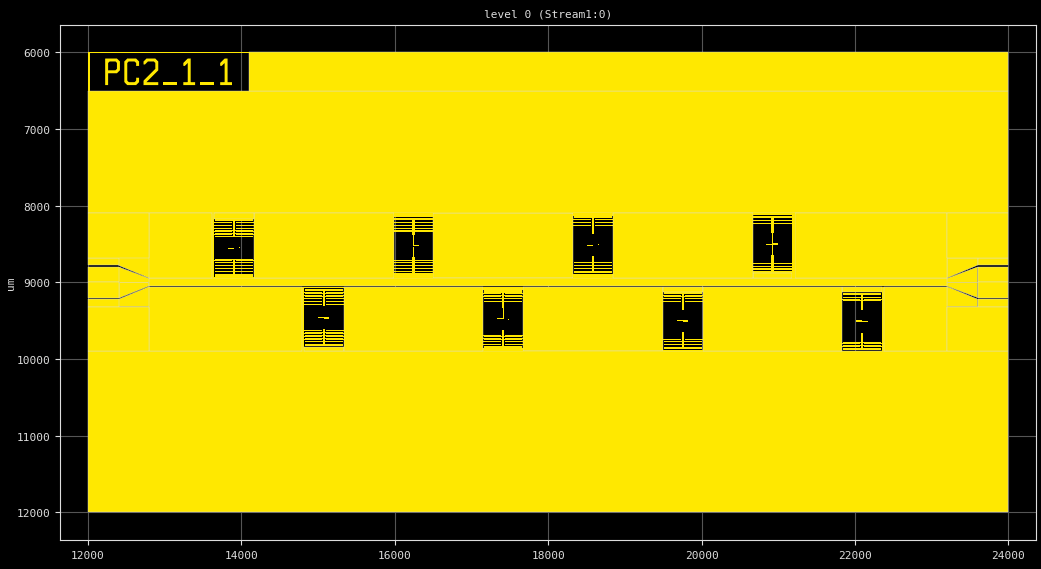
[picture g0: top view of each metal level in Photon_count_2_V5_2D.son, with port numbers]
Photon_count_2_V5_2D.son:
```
FTYP SONPROJ 19 ! Sonnet Project File
VER 18.56
HEADER
LIC infn2.1.84251
DAT 04/24/2026 14:13:35
BUILT_BY_CREATED gds 18.56 04/24/2026 14:13:35
BUILT_BY_SAVED gds 18.56
MDATE 04/24/2026 14:13:35
HDATE 04/24/2026 14:13:35
END HEADER
DIM
ANG DEG
CAP PF
CON /OH
FREQ GHZ
IND NH
LNG UM
RES OH
END DIM
CONTROL
ABS
OPTIONS  -d
SPEED 0
CACHE_ABS 2
TARG_ABS 300
Q_ACC N
END CONTROL
GEO
TMET "Lossless" 0 SUP 0 0 0 0
BMET "Lossless" 0 SUP 0 0 0 0
MET "Unknown_metal" 1 NOR INF 0.5 0 
BOX 1 36000 18000 144000 72000 20 0
      0 1 1 0 0 0 0 "Unnamed"
      0 1 1 0 0 0 0 "Unnamed"
TECHLAY METAL Stream1:0 <UNSPECIFIED> 1 0 
0 0 0 N 0 1 1 100 100 0 0 0 Y
END
END
LORGN 0 18000 U 
NUM 365
0 19 0 N 1 1 1 100 100 0 0 0 Y
TLAYNAM Stream1:0 INH
12223.5 6428.08
12223.5 6081.92
12281.2 6081.92
12281.2 6120.39
12261.9 6139.61
12261.9 6235.77
12358.1 6235.77
12377.3 6216.54
12377.3 6139.61
12358.1 6120.39
12281.2 6120.39
12281.2 6081.92
12377.3 6081.92
12415.8 6120.39
12415.8 6235.77
12377.3 6274.23
12261.9 6274.23
12261.9 6428.08
12223.5 6428.08
END
0 21 0 N 2 1 1 100 100 0 0 0 Y
TLAYNAM Stream1:0 INH
12511.9 6428.08
12473.5 6389.61
12473.5 6120.39
12511.9 6081.92
12627.3 6081.92
12665.8 6120.39
12665.8 6178.08
12627.3 6178.08
12627.3 6139.61
12608.1 6120.39
12531.2 6120.39
12511.9 6139.61
12511.9 6370.39
12531.2 6389.61
12608.1 6389.61
12627.3 6370.39
12627.3 6331.92
12665.8 6331.92
12665.8 6389.61
12627.3 6428.08
12511.9 6428.08
END
0 17 0 N 3 1 1 100 100 0 0 0 Y
TLAYNAM Stream1:0 INH
12723.5 6428.08
12723.5 6370.39
12877.3 6216.54
12877.3 6139.61
12858.1 6120.39
12781.2 6120.39
12742.7 6158.85
12723.5 6158.85
12723.5 6120.39
12761.9 6081.92
12877.3 6081.92
12915.8 6120.39
12915.8 6235.77
12761.9 6389.61
12915.8 6389.61
12915.8 6428.08
12723.5 6428.08
END
0 13 0 N 4 1 1 100 100 0 0 0 Y
TLAYNAM Stream1:0 INH
13242.7 6428.08
13242.7 6389.61
13300.4 6389.61
13300.4 6139.61
13261.9 6178.08
13242.7 6178.08
13242.7 6139.61
13300.4 6081.92
13338.8 6081.92
13338.8 6389.61
13396.5 6389.61
13396.5 6428.08
13242.7 6428.08
END
0 13 0 N 5 1 1 100 100 0 0 0 Y
TLAYNAM Stream1:0 INH
13723.5 6428.08
13723.5 6389.61
13781.2 6389.61
13781.2 6139.61
13742.7 6178.08
13723.5 6178.08
13723.5 6139.61
13781.2 6081.92
13819.6 6081.92
13819.6 6389.61
13877.3 6389.61
13877.3 6428.08
13723.5 6428.08
END
0 5 0 N 6 1 1 100 100 0 0 0 Y
TLAYNAM Stream1:0 INH
23200 8945
23200 8680
23600 8680
23600 8780
23200 8945
END
0 5 0 N 7 1 1 100 100 0 0 0 Y
TLAYNAM Stream1:0 INH
12400 9320
12400 9220
12800 9055
12800 9320
12400 9320
END
0 5 0 N 8 1 1 100 100 0 0 0 Y
TLAYNAM Stream1:0 INH
23200 9000
23200 8950
23600 8800
23600 9000
23200 9000
END
0 5 0 N 9 1 1 100 100 0 0 0 Y
TLAYNAM Stream1:0 INH
12400 9200
12400 9000
12800 9000
12800 9050
12400 9200
END
0 5 0 N 10 1 1 100 100 0 0 0 Y
TLAYNAM Stream1:0 INH
23200 9320
23200 9055
23600 9220
23600 9320
23200 9320
END
0 5 0 N 11 1 1 100 100 0 0 0 Y
TLAYNAM Stream1:0 INH
12800 8945
12400 8780
12400 8680
12800 8680
12800 8945
END
0 5 0 N 12 1 1 100 100 0 0 0 Y
TLAYNAM Stream1:0 INH
23600 9200
23200 9050
23200 9000
23600 9000
23600 9200
END
0 5 0 N 13 1 1 100 100 0 0 0 Y
TLAYNAM Stream1:0 INH
12400 9000
12400 8800
12800 8950
12800 9000
12400 9000
END
0 5 0 N 14 1 1 100 100 0 0 0 Y
TLAYNAM Stream1:0 INH
16505 8945
16505 8100
18325 8100
18325 8945
16505 8945
END
0 5 0 N 15 1 1 100 100 0 0 0 Y
TLAYNAM Stream1:0 INH
17675 9900
17675 9055
19495 9055
19495 9900
17675 9900
END
0 5 0 N 16 1 1 100 100 0 0 0 Y
TLAYNAM Stream1:0 INH
12800 9050
12800 8950
23200 8950
23200 9050
12800 9050
END
0 5 0 N 17 1 1 100 100 0 0 0 Y
TLAYNAM Stream1:0 INH
12000 12000
12000 9900
24000 9900
24000 12000
12000 12000
END
0 5 0 N 18 1 1 100 100 0 0 0 Y
TLAYNAM Stream1:0 INH
12000 8100
12000 6500
24000 6500
24000 8100
12000 8100
END
0 5 0 N 19 1 1 100 100 0 0 0 Y
TLAYNAM Stream1:0 INH
14100 6500
14100 6000
24000 6000
24000 6500
14100 6500
END
0 5 0 N 20 1 1 100 100 0 0 0 Y
TLAYNAM Stream1:0 INH
20665 8180
20665 8170
20900 8170
20900 8180
20665 8180
END
0 5 0 N 21 1 1 100 100 0 0 0 Y
TLAYNAM Stream1:0 INH
20675 8200
20675 8190
20910 8190
20910 8200
20675 8200
END
0 5 0 N 22 1 1 100 100 0 0 0 Y
TLAYNAM Stream1:0 INH
20950 8180
20950 8170
21185 8170
21185 8180
20950 8180
END
0 5 0 N 23 1 1 100 100 0 0 0 Y
TLAYNAM Stream1:0 INH
20940 8200
20940 8190
21175 8190
21175 8200
20940 8200
END
0 5 0 N 24 1 1 100 100 0 0 0 Y
TLAYNAM Stream1:0 INH
20675 8880
20675 8850
21175 8850
21175 8880
20675 8880
END
0 5 0 N 25 1 1 100 100 0 0 0 Y
TLAYNAM Stream1:0 INH
20910 8850
20910 8650
20940 8650
20940 8850
20910 8850
END
0 5 0 N 26 1 1 100 100 0 0 0 Y
TLAYNAM Stream1:0 INH
20665 8840
20665 8830
20900 8830
20900 8840
20665 8840
END
0 5 0 N 27 1 1 100 100 0 0 0 Y
TLAYNAM Stream1:0 INH
20675 8820
20675 8810
20910 8810
20910 8820
20675 8820
END
0 5 0 N 28 1 1 100 100 0 0 0 Y
TLAYNAM Stream1:0 INH
20940 8820
20940 8810
21175 8810
21175 8820
20940 8820
END
0 5 0 N 29 1 1 100 100 0 0 0 Y
TLAYNAM Stream1:0 INH
20950 8840
20950 8830
21185 8830
21185 8840
20950 8840
END
0 5 0 N 30 1 1 100 100 0 0 0 Y
TLAYNAM Stream1:0 INH
20940 8240
20940 8230
21175 8230
21175 8240
20940 8240
END
0 5 0 N 31 1 1 100 100 0 0 0 Y
TLAYNAM Stream1:0 INH
20675 8240
20675 8230
20910 8230
20910 8240
20675 8240
END
0 5 0 N 32 1 1 100 100 0 0 0 Y
TLAYNAM Stream1:0 INH
20950 8220
20950 8210
21185 8210
21185 8220
20950 8220
END
0 5 0 N 33 1 1 100 100 0 0 0 Y
TLAYNAM Stream1:0 INH
20665 8220
20665 8210
20900 8210
20900 8220
20665 8220
END
0 5 0 N 34 1 1 100 100 0 0 0 Y
TLAYNAM Stream1:0 INH
20950 8760
20950 8750
21185 8750
21185 8760
20950 8760
END
0 5 0 N 35 1 1 100 100 0 0 0 Y
TLAYNAM Stream1:0 INH
20665 8760
20665 8750
20900 8750
20900 8760
20665 8760
END
0 5 0 N 36 1 1 100 100 0 0 0 Y
TLAYNAM Stream1:0 INH
20940 8780
20940 8770
21175 8770
21175 8780
20940 8780
END
0 5 0 N 37 1 1 100 100 0 0 0 Y
TLAYNAM Stream1:0 INH
20675 8780
20675 8770
20910 8770
20910 8780
20675 8780
END
0 5 0 N 38 1 1 100 100 0 0 0 Y
TLAYNAM Stream1:0 INH
20950 8800
20950 8790
21185 8790
21185 8800
20950 8800
END
0 5 0 N 39 1 1 100 100 0 0 0 Y
TLAYNAM Stream1:0 INH
20665 8800
20665 8790
20900 8790
20900 8800
20665 8800
END
0 5 0 N 40 1 1 100 100 0 0 0 Y
TLAYNAM Stream1:0 INH
20665 8945
20665 8885
21185 8885
21185 8945
20665 8945
END
0 5 0 N 41 1 1 100 100 0 0 0 Y
TLAYNAM Stream1:0 INH
20847 8508
20847 8503
20997 8503
20997 8508
20847 8508
END
0 5 0 N 42 1 1 100 100 0 0 0 Y
TLAYNAM Stream1:0 INH
20992 8503
20992 8498
20997 8498
20997 8503
20992 8503
END
0 5 0 N 43 1 1 100 100 0 0 0 Y
TLAYNAM Stream1:0 INH
20922 8498
20922 8493
20997 8493
20997 8498
20922 8498
END
0 5 0 N 44 1 1 100 100 0 0 0 Y
TLAYNAM Stream1:0 INH
20847 8513
20847 8508
20852 8508
20852 8513
20847 8513
END
0 5 0 N 45 1 1 100 100 0 0 0 Y
TLAYNAM Stream1:0 INH
20847 8518
20847 8513
20923 8513
20923 8518
20847 8518
END
0 5 0 N 46 1 1 100 100 0 0 0 Y
TLAYNAM Stream1:0 INH
20922 8493
20922 8360
20927 8360
20927 8493
20922 8493
END
0 5 0 N 47 1 1 100 100 0 0 0 Y
TLAYNAM Stream1:0 INH
20923 8650
20923 8513
20928 8513
20928 8650
20923 8650
END
0 5 0 N 48 1 1 100 100 0 0 0 Y
TLAYNAM Stream1:0 INH
18325 8130
18325 8100
18845 8100
18845 8130
18325 8130
END
0 5 0 N 49 1 1 100 100 0 0 0 Y
TLAYNAM Stream1:0 INH
18335 8165
18335 8135
18835 8135
18835 8165
18335 8165
END
0 5 0 N 50 1 1 100 100 0 0 0 Y
TLAYNAM Stream1:0 INH
18570 8365
18570 8165
18600 8165
18600 8365
18570 8365
END
0 5 0 N 51 1 1 100 100 0 0 0 Y
TLAYNAM Stream1:0 INH
18325 8185
18325 8175
18560 8175
18560 8185
18325 8185
END
0 5 0 N 52 1 1 100 100 0 0 0 Y
TLAYNAM Stream1:0 INH
18335 8205
18335 8195
18570 8195
18570 8205
18335 8205
END
0 5 0 N 53 1 1 100 100 0 0 0 Y
TLAYNAM Stream1:0 INH
18610 8185
18610 8175
18845 8175
18845 8185
18610 8185
END
0 5 0 N 54 1 1 100 100 0 0 0 Y
TLAYNAM Stream1:0 INH
18600 8205
18600 8195
18835 8195
18835 8205
18600 8205
END
0 5 0 N 55 1 1 100 100 0 0 0 Y
TLAYNAM Stream1:0 INH
18335 8885
18335 8855
18835 8855
18835 8885
18335 8885
END
0 5 0 N 56 1 1 100 100 0 0 0 Y
TLAYNAM Stream1:0 INH
18570 8855
18570 8655
18600 8655
18600 8855
18570 8855
END
0 5 0 N 57 1 1 100 100 0 0 0 Y
TLAYNAM Stream1:0 INH
18325 8845
18325 8835
18560 8835
18560 8845
18325 8845
END
0 5 0 N 58 1 1 100 100 0 0 0 Y
TLAYNAM Stream1:0 INH
18335 8825
18335 8815
18570 8815
18570 8825
18335 8825
END
0 5 0 N 59 1 1 100 100 0 0 0 Y
TLAYNAM Stream1:0 INH
18600 8825
18600 8815
18835 8815
18835 8825
18600 8825
END
0 5 0 N 60 1 1 100 100 0 0 0 Y
TLAYNAM Stream1:0 INH
18610 8845
18610 8835
18845 8835
18845 8845
18610 8845
END
0 5 0 N 61 1 1 100 100 0 0 0 Y
TLAYNAM Stream1:0 INH
18600 8285
18600 8275
18835 8275
18835 8285
18600 8285
END
0 5 0 N 62 1 1 100 100 0 0 0 Y
TLAYNAM Stream1:0 INH
18335 8285
18335 8275
18570 8275
18570 8285
18335 8285
END
0 5 0 N 63 1 1 100 100 0 0 0 Y
TLAYNAM Stream1:0 INH
18610 8265
18610 8255
18845 8255
18845 8265
18610 8265
END
0 5 0 N 64 1 1 100 100 0 0 0 Y
TLAYNAM Stream1:0 INH
18325 8265
18325 8255
18560 8255
18560 8265
18325 8265
END
0 5 0 N 65 1 1 100 100 0 0 0 Y
TLAYNAM Stream1:0 INH
18600 8245
18600 8235
18835 8235
18835 8245
18600 8245
END
0 5 0 N 66 1 1 100 100 0 0 0 Y
TLAYNAM Stream1:0 INH
18335 8245
18335 8235
18570 8235
18570 8245
18335 8245
END
0 5 0 N 67 1 1 100 100 0 0 0 Y
TLAYNAM Stream1:0 INH
18610 8225
18610 8215
18845 8215
18845 8225
18610 8225
END
0 5 0 N 68 1 1 100 100 0 0 0 Y
TLAYNAM Stream1:0 INH
18325 8225
18325 8215
18560 8215
18560 8225
18325 8225
END
0 5 0 N 69 1 1 100 100 0 0 0 Y
TLAYNAM Stream1:0 INH
18600 8745
18600 8735
18835 8735
18835 8745
18600 8745
END
0 5 0 N 70 1 1 100 100 0 0 0 Y
TLAYNAM Stream1:0 INH
18335 8745
18335 8735
18570 8735
18570 8745
18335 8745
END
0 5 0 N 71 1 1 100 100 0 0 0 Y
TLAYNAM Stream1:0 INH
18610 8765
18610 8755
18845 8755
18845 8765
18610 8765
END
0 5 0 N 72 1 1 100 100 0 0 0 Y
TLAYNAM Stream1:0 INH
18325 8765
18325 8755
18560 8755
18560 8765
18325 8765
END
0 5 0 N 73 1 1 100 100 0 0 0 Y
TLAYNAM Stream1:0 INH
18600 8785
18600 8775
18835 8775
18835 8785
18600 8785
END
0 5 0 N 74 1 1 100 100 0 0 0 Y
TLAYNAM Stream1:0 INH
18335 8785
18335 8775
18570 8775
18570 8785
18335 8785
END
0 5 0 N 75 1 1 100 100 0 0 0 Y
TLAYNAM Stream1:0 INH
18610 8805
18610 8795
18845 8795
18845 8805
18610 8805
END
0 5 0 N 76 1 1 100 100 0 0 0 Y
TLAYNAM Stream1:0 INH
18325 8805
18325 8795
18560 8795
18560 8805
18325 8805
END
0 5 0 N 77 1 1 100 100 0 0 0 Y
TLAYNAM Stream1:0 INH
18325 8945
18325 8890
18845 8890
18845 8945
18325 8945
END
0 5 0 N 78 1 1 100 100 0 0 0 Y
TLAYNAM Stream1:0 INH
18507 8513
18507 8508
18657 8508
18657 8513
18507 8513
END
0 5 0 N 79 1 1 100 100 0 0 0 Y
TLAYNAM Stream1:0 INH
18652 8508
18652 8503
18657 8503
18657 8508
18652 8508
END
0 5 0 N 80 1 1 100 100 0 0 0 Y
TLAYNAM Stream1:0 INH
18582 8503
18582 8498
18657 8498
18657 8503
18582 8503
END
0 5 0 N 81 1 1 100 100 0 0 0 Y
TLAYNAM Stream1:0 INH
18507 8518
18507 8513
18512 8513
18512 8518
18507 8518
END
0 5 0 N 82 1 1 100 100 0 0 0 Y
TLAYNAM Stream1:0 INH
18507 8523
18507 8518
18583 8518
18583 8523
18507 8523
END
0 5 0 N 83 1 1 100 100 0 0 0 Y
TLAYNAM Stream1:0 INH
18582 8498
18582 8365
18587 8365
18587 8498
18582 8498
END
0 5 0 N 84 1 1 100 100 0 0 0 Y
TLAYNAM Stream1:0 INH
18583 8655
18583 8518
18588 8518
18588 8655
18583 8655
END
0 5 0 N 85 1 1 100 100 0 0 0 Y
TLAYNAM Stream1:0 INH
18845 8945
18845 8100
20665 8100
20665 8945
18845 8945
END
0 5 0 N 86 1 1 100 100 0 0 0 Y
TLAYNAM Stream1:0 INH
23600 8780
23600 8680
24000 8680
24000 8780
23600 8780
END
0 5 0 N 87 1 1 100 100 0 0 0 Y
TLAYNAM Stream1:0 INH
23600 9000
23600 8800
24000 8800
24000 9000
23600 9000
END
0 5 0 N 88 1 1 100 100 0 0 0 Y
TLAYNAM Stream1:0 INH
21215 8945
21215 8100
23200 8100
23200 8945
21215 8945
END
0 5 0 N 89 1 1 100 100 0 0 0 Y
TLAYNAM Stream1:0 INH
23200 8680
23200 8100
24000 8100
24000 8680
23200 8680
END
0 5 0 N 90 1 1 100 100 0 0 0 Y
TLAYNAM Stream1:0 INH
21185 8945
21185 8100
21215 8100
21215 8945
21185 8945
END
0 5 0 N 91 1 1 100 100 0 0 0 Y
TLAYNAM Stream1:0 INH
20665 8125
20665 8100
21185 8100
21185 8125
20665 8125
END
0 5 0 N 92 1 1 100 100 0 0 0 Y
TLAYNAM Stream1:0 INH
20675 8160
20675 8130
21175 8130
21175 8160
20675 8160
END
0 5 0 N 93 1 1 100 100 0 0 0 Y
TLAYNAM Stream1:0 INH
20910 8360
20910 8160
20940 8160
20940 8360
20910 8360
END
0 5 0 N 94 1 1 100 100 0 0 0 Y
TLAYNAM Stream1:0 INH
14165 8945
14165 8100
15985 8100
15985 8945
14165 8945
END
0 5 0 N 95 1 1 100 100 0 0 0 Y
TLAYNAM Stream1:0 INH
12973.5 6428.08
12973.5 6389.61
13165.8 6389.61
13165.8 6428.08
12973.5 6428.08
END
0 5 0 N 96 1 1 100 100 0 0 0 Y
TLAYNAM Stream1:0 INH
13454.2 6428.08
13454.2 6389.61
13646.5 6389.61
13646.5 6428.08
13454.2 6428.08
END
0 5 0 N 97 1 1 100 100 0 0 0 Y
TLAYNAM Stream1:0 INH
12000 6500
12000 6010
12030 6010
12030 6500
12000 6500
END
0 5 0 N 98 1 1 100 100 0 0 0 Y
TLAYNAM Stream1:0 INH
12000 6010
12000 6000
14100 6000
14100 6010
12000 6010
END
0 5 0 N 99 1 1 100 100 0 0 0 Y
TLAYNAM Stream1:0 INH
13972 8548
13972 8543
13977 8543
13977 8548
13972 8548
END
0 5 0 N 100 1 1 100 100 0 0 0 Y
TLAYNAM Stream1:0 INH
13902 8543
13902 8538
13977 8538
13977 8543
13902 8543
END
0 5 0 N 101 1 1 100 100 0 0 0 Y
TLAYNAM Stream1:0 INH
13827 8558
13827 8553
13832 8553
13832 8558
13827 8558
END
0 5 0 N 102 1 1 100 100 0 0 0 Y
TLAYNAM Stream1:0 INH
13827 8563
13827 8558
13903 8558
13903 8563
13827 8563
END
0 5 0 N 103 1 1 100 100 0 0 0 Y
TLAYNAM Stream1:0 INH
13902 8538
13902 8405
13907 8405
13907 8538
13902 8538
END
0 5 0 N 104 1 1 100 100 0 0 0 Y
TLAYNAM Stream1:0 INH
13903 8695
13903 8558
13908 8558
13908 8695
13903 8695
END
0 5 0 N 105 1 1 100 100 0 0 0 Y
TLAYNAM Stream1:0 INH
13655 8825
13655 8815
13890 8815
13890 8825
13655 8825
END
0 5 0 N 106 1 1 100 100 0 0 0 Y
TLAYNAM Stream1:0 INH
13615 8945
13615 8100
13645 8100
13645 8945
13615 8945
END
0 5 0 N 107 1 1 100 100 0 0 0 Y
TLAYNAM Stream1:0 INH
13930 8845
13930 8835
14165 8835
14165 8845
13930 8845
END
0 5 0 N 108 1 1 100 100 0 0 0 Y
TLAYNAM Stream1:0 INH
13645 8845
13645 8835
13880 8835
13880 8845
13645 8845
END
0 5 0 N 109 1 1 100 100 0 0 0 Y
TLAYNAM Stream1:0 INH
13920 8865
13920 8855
14155 8855
14155 8865
13920 8865
END
0 5 0 N 110 1 1 100 100 0 0 0 Y
TLAYNAM Stream1:0 INH
13930 8885
13930 8875
14165 8875
14165 8885
13930 8885
END
0 5 0 N 111 1 1 100 100 0 0 0 Y
TLAYNAM Stream1:0 INH
13920 8405
13920 8395
14155 8395
14155 8405
13920 8405
END
0 5 0 N 112 1 1 100 100 0 0 0 Y
TLAYNAM Stream1:0 INH
13655 8405
13655 8395
13890 8395
13890 8405
13655 8405
END
0 5 0 N 113 1 1 100 100 0 0 0 Y
TLAYNAM Stream1:0 INH
13930 8385
13930 8375
14165 8375
14165 8385
13930 8385
END
0 5 0 N 114 1 1 100 100 0 0 0 Y
TLAYNAM Stream1:0 INH
13645 8385
13645 8375
13880 8375
13880 8385
13645 8385
END
0 5 0 N 115 1 1 100 100 0 0 0 Y
TLAYNAM Stream1:0 INH
13920 8365
13920 8355
14155 8355
14155 8365
13920 8365
END
0 5 0 N 116 1 1 100 100 0 0 0 Y
TLAYNAM Stream1:0 INH
13655 8365
13655 8355
13890 8355
13890 8365
13655 8365
END
0 5 0 N 117 1 1 100 100 0 0 0 Y
TLAYNAM Stream1:0 INH
13930 8345
13930 8335
14165 8335
14165 8345
13930 8345
END
0 5 0 N 118 1 1 100 100 0 0 0 Y
TLAYNAM Stream1:0 INH
13645 8345
13645 8335
13880 8335
13880 8345
13645 8345
END
0 5 0 N 119 1 1 100 100 0 0 0 Y
TLAYNAM Stream1:0 INH
13920 8325
13920 8315
14155 8315
14155 8325
13920 8325
END
0 5 0 N 120 1 1 100 100 0 0 0 Y
TLAYNAM Stream1:0 INH
13655 8325
13655 8315
13890 8315
13890 8325
13655 8325
END
0 5 0 N 121 1 1 100 100 0 0 0 Y
TLAYNAM Stream1:0 INH
13930 8305
13930 8295
14165 8295
14165 8305
13930 8305
END
0 5 0 N 122 1 1 100 100 0 0 0 Y
TLAYNAM Stream1:0 INH
13645 8305
13645 8295
13880 8295
13880 8305
13645 8305
END
0 5 0 N 123 1 1 100 100 0 0 0 Y
TLAYNAM Stream1:0 INH
13920 8285
13920 8275
14155 8275
14155 8285
13920 8285
END
0 5 0 N 124 1 1 100 100 0 0 0 Y
TLAYNAM Stream1:0 INH
13655 8285
13655 8275
13890 8275
13890 8285
13655 8285
END
0 5 0 N 125 1 1 100 100 0 0 0 Y
TLAYNAM Stream1:0 INH
13930 8265
13930 8255
14165 8255
14165 8265
13930 8265
END
0 5 0 N 126 1 1 100 100 0 0 0 Y
TLAYNAM Stream1:0 INH
13645 8265
13645 8255
13880 8255
13880 8265
13645 8265
END
0 5 0 N 127 1 1 100 100 0 0 0 Y
TLAYNAM Stream1:0 INH
13920 8705
13920 8695
14155 8695
14155 8705
13920 8705
END
0 5 0 N 128 1 1 100 100 0 0 0 Y
TLAYNAM Stream1:0 INH
13655 8705
13655 8695
13890 8695
13890 8705
13655 8705
END
0 5 0 N 129 1 1 100 100 0 0 0 Y
TLAYNAM Stream1:0 INH
13930 8725
13930 8715
14165 8715
14165 8725
13930 8725
END
0 5 0 N 130 1 1 100 100 0 0 0 Y
TLAYNAM Stream1:0 INH
13645 8725
13645 8715
13880 8715
13880 8725
13645 8725
END
0 5 0 N 131 1 1 100 100 0 0 0 Y
TLAYNAM Stream1:0 INH
13645 8170
13645 8100
14165 8100
14165 8170
13645 8170
END
0 5 0 N 132 1 1 100 100 0 0 0 Y
TLAYNAM Stream1:0 INH
13655 8205
13655 8175
14155 8175
14155 8205
13655 8205
END
0 5 0 N 133 1 1 100 100 0 0 0 Y
TLAYNAM Stream1:0 INH
13890 8405
13890 8205
13920 8205
13920 8405
13890 8405
END
0 5 0 N 134 1 1 100 100 0 0 0 Y
TLAYNAM Stream1:0 INH
13645 8225
13645 8215
13880 8215
13880 8225
13645 8225
END
0 5 0 N 135 1 1 100 100 0 0 0 Y
TLAYNAM Stream1:0 INH
13655 8245
13655 8235
13890 8235
13890 8245
13655 8245
END
0 5 0 N 136 1 1 100 100 0 0 0 Y
TLAYNAM Stream1:0 INH
13930 8225
13930 8215
14165 8215
14165 8225
13930 8225
END
0 5 0 N 137 1 1 100 100 0 0 0 Y
TLAYNAM Stream1:0 INH
13920 8245
13920 8235
14155 8235
14155 8245
13920 8245
END
0 5 0 N 138 1 1 100 100 0 0 0 Y
TLAYNAM Stream1:0 INH
13655 8925
13655 8895
14155 8895
14155 8925
13655 8925
END
0 5 0 N 139 1 1 100 100 0 0 0 Y
TLAYNAM Stream1:0 INH
13890 8895
13890 8695
13920 8695
13920 8895
13890 8895
END
0 5 0 N 140 1 1 100 100 0 0 0 Y
TLAYNAM Stream1:0 INH
13645 8885
13645 8875
13880 8875
13880 8885
13645 8885
END
0 5 0 N 141 1 1 100 100 0 0 0 Y
TLAYNAM Stream1:0 INH
13655 8865
13655 8855
13890 8855
13890 8865
13655 8865
END
0 5 0 N 142 1 1 100 100 0 0 0 Y
TLAYNAM Stream1:0 INH
13920 8745
13920 8735
14155 8735
14155 8745
13920 8745
END
0 5 0 N 143 1 1 100 100 0 0 0 Y
TLAYNAM Stream1:0 INH
13655 8745
13655 8735
13890 8735
13890 8745
13655 8745
END
0 5 0 N 144 1 1 100 100 0 0 0 Y
TLAYNAM Stream1:0 INH
13930 8765
13930 8755
14165 8755
14165 8765
13930 8765
END
0 5 0 N 145 1 1 100 100 0 0 0 Y
TLAYNAM Stream1:0 INH
12000 8780
12000 8680
12400 8680
12400 8780
12000 8780
END
0 5 0 N 146 1 1 100 100 0 0 0 Y
TLAYNAM Stream1:0 INH
12000 9000
12000 8800
12400 8800
12400 9000
12000 9000
END
0 5 0 N 147 1 1 100 100 0 0 0 Y
TLAYNAM Stream1:0 INH
13645 8765
13645 8755
13880 8755
13880 8765
13645 8765
END
0 5 0 N 148 1 1 100 100 0 0 0 Y
TLAYNAM Stream1:0 INH
12800 8945
12800 8100
13615 8100
13615 8945
12800 8945
END
0 5 0 N 149 1 1 100 100 0 0 0 Y
TLAYNAM Stream1:0 INH
13920 8785
13920 8775
14155 8775
14155 8785
13920 8785
END
0 5 0 N 150 1 1 100 100 0 0 0 Y
TLAYNAM Stream1:0 INH
12000 8680
12000 8100
12800 8100
12800 8680
12000 8680
END
0 5 0 N 151 1 1 100 100 0 0 0 Y
TLAYNAM Stream1:0 INH
13655 8785
13655 8775
13890 8775
13890 8785
13655 8785
END
0 5 0 N 152 1 1 100 100 0 0 0 Y
TLAYNAM Stream1:0 INH
13930 8805
13930 8795
14165 8795
14165 8805
13930 8805
END
0 5 0 N 153 1 1 100 100 0 0 0 Y
TLAYNAM Stream1:0 INH
13645 8805
13645 8795
13880 8795
13880 8805
13645 8805
END
0 5 0 N 154 1 1 100 100 0 0 0 Y
TLAYNAM Stream1:0 INH
13645 8945
13645 8930
14165 8930
14165 8945
13645 8945
END
0 5 0 N 155 1 1 100 100 0 0 0 Y
TLAYNAM Stream1:0 INH
13827 8553
13827 8548
13977 8548
13977 8553
13827 8553
END
0 5 0 N 156 1 1 100 100 0 0 0 Y
TLAYNAM Stream1:0 INH
13920 8825
13920 8815
14155 8815
14155 8825
13920 8825
END
0 5 0 N 157 1 1 100 100 0 0 0 Y
TLAYNAM Stream1:0 INH
15995 8725
15995 8715
16230 8715
16230 8725
15995 8725
END
0 5 0 N 158 1 1 100 100 0 0 0 Y
TLAYNAM Stream1:0 INH
16270 8745
16270 8735
16505 8735
16505 8745
16270 8745
END
0 5 0 N 159 1 1 100 100 0 0 0 Y
TLAYNAM Stream1:0 INH
15985 8745
15985 8735
16220 8735
16220 8745
15985 8745
END
0 5 0 N 160 1 1 100 100 0 0 0 Y
TLAYNAM Stream1:0 INH
16260 8765
16260 8755
16495 8755
16495 8765
16260 8765
END
0 5 0 N 161 1 1 100 100 0 0 0 Y
TLAYNAM Stream1:0 INH
15995 8765
15995 8755
16230 8755
16230 8765
15995 8765
END
0 5 0 N 162 1 1 100 100 0 0 0 Y
TLAYNAM Stream1:0 INH
16270 8785
16270 8775
16505 8775
16505 8785
16270 8785
END
0 5 0 N 163 1 1 100 100 0 0 0 Y
TLAYNAM Stream1:0 INH
15985 8785
15985 8775
16220 8775
16220 8785
15985 8785
END
0 5 0 N 164 1 1 100 100 0 0 0 Y
TLAYNAM Stream1:0 INH
16260 8805
16260 8795
16495 8795
16495 8805
16260 8805
END
0 5 0 N 165 1 1 100 100 0 0 0 Y
TLAYNAM Stream1:0 INH
15995 8805
15995 8795
16230 8795
16230 8805
15995 8805
END
0 5 0 N 166 1 1 100 100 0 0 0 Y
TLAYNAM Stream1:0 INH
16270 8825
16270 8815
16505 8815
16505 8825
16270 8825
END
0 5 0 N 167 1 1 100 100 0 0 0 Y
TLAYNAM Stream1:0 INH
15985 8825
15985 8815
16220 8815
16220 8825
15985 8825
END
0 5 0 N 168 1 1 100 100 0 0 0 Y
TLAYNAM Stream1:0 INH
15985 8945
15985 8910
16505 8910
16505 8945
15985 8945
END
0 5 0 N 169 1 1 100 100 0 0 0 Y
TLAYNAM Stream1:0 INH
16167 8533
16167 8528
16317 8528
16317 8533
16167 8533
END
0 5 0 N 170 1 1 100 100 0 0 0 Y
TLAYNAM Stream1:0 INH
16312 8528
16312 8523
16317 8523
16317 8528
16312 8528
END
0 5 0 N 171 1 1 100 100 0 0 0 Y
TLAYNAM Stream1:0 INH
16242 8523
16242 8518
16317 8518
16317 8523
16242 8523
END
0 5 0 N 172 1 1 100 100 0 0 0 Y
TLAYNAM Stream1:0 INH
16167 8538
16167 8533
16172 8533
16172 8538
16167 8538
END
0 5 0 N 173 1 1 100 100 0 0 0 Y
TLAYNAM Stream1:0 INH
16167 8543
16167 8538
16243 8538
16243 8543
16167 8543
END
0 5 0 N 174 1 1 100 100 0 0 0 Y
TLAYNAM Stream1:0 INH
16242 8518
16242 8385
16247 8385
16247 8518
16242 8518
END
0 5 0 N 175 1 1 100 100 0 0 0 Y
TLAYNAM Stream1:0 INH
16243 8675
16243 8538
16248 8538
16248 8675
16243 8675
END
0 5 0 N 176 1 1 100 100 0 0 0 Y
TLAYNAM Stream1:0 INH
15985 8150
15985 8100
16505 8100
16505 8150
15985 8150
END
0 5 0 N 177 1 1 100 100 0 0 0 Y
TLAYNAM Stream1:0 INH
15995 8185
15995 8155
16495 8155
16495 8185
15995 8185
END
0 5 0 N 178 1 1 100 100 0 0 0 Y
TLAYNAM Stream1:0 INH
16230 8385
16230 8185
16260 8185
16260 8385
16230 8385
END
0 5 0 N 179 1 1 100 100 0 0 0 Y
TLAYNAM Stream1:0 INH
15985 8205
15985 8195
16220 8195
16220 8205
15985 8205
END
0 5 0 N 180 1 1 100 100 0 0 0 Y
TLAYNAM Stream1:0 INH
15995 8225
15995 8215
16230 8215
16230 8225
15995 8225
END
0 5 0 N 181 1 1 100 100 0 0 0 Y
TLAYNAM Stream1:0 INH
16270 8205
16270 8195
16505 8195
16505 8205
16270 8205
END
0 5 0 N 182 1 1 100 100 0 0 0 Y
TLAYNAM Stream1:0 INH
16260 8225
16260 8215
16495 8215
16495 8225
16260 8225
END
0 5 0 N 183 1 1 100 100 0 0 0 Y
TLAYNAM Stream1:0 INH
15995 8905
15995 8875
16495 8875
16495 8905
15995 8905
END
0 5 0 N 184 1 1 100 100 0 0 0 Y
TLAYNAM Stream1:0 INH
16230 8875
16230 8675
16260 8675
16260 8875
16230 8875
END
0 5 0 N 185 1 1 100 100 0 0 0 Y
TLAYNAM Stream1:0 INH
15985 8865
15985 8855
16220 8855
16220 8865
15985 8865
END
0 5 0 N 186 1 1 100 100 0 0 0 Y
TLAYNAM Stream1:0 INH
15995 8845
15995 8835
16230 8835
16230 8845
15995 8845
END
0 5 0 N 187 1 1 100 100 0 0 0 Y
TLAYNAM Stream1:0 INH
16260 8845
16260 8835
16495 8835
16495 8845
16260 8845
END
0 5 0 N 188 1 1 100 100 0 0 0 Y
TLAYNAM Stream1:0 INH
16270 8865
16270 8855
16505 8855
16505 8865
16270 8865
END
0 5 0 N 189 1 1 100 100 0 0 0 Y
TLAYNAM Stream1:0 INH
16260 8345
16260 8335
16495 8335
16495 8345
16260 8345
END
0 5 0 N 190 1 1 100 100 0 0 0 Y
TLAYNAM Stream1:0 INH
15995 8345
15995 8335
16230 8335
16230 8345
15995 8345
END
0 5 0 N 191 1 1 100 100 0 0 0 Y
TLAYNAM Stream1:0 INH
16270 8325
16270 8315
16505 8315
16505 8325
16270 8325
END
0 5 0 N 192 1 1 100 100 0 0 0 Y
TLAYNAM Stream1:0 INH
15985 8325
15985 8315
16220 8315
16220 8325
15985 8325
END
0 5 0 N 193 1 1 100 100 0 0 0 Y
TLAYNAM Stream1:0 INH
16260 8305
16260 8295
16495 8295
16495 8305
16260 8305
END
0 5 0 N 194 1 1 100 100 0 0 0 Y
TLAYNAM Stream1:0 INH
15995 8305
15995 8295
16230 8295
16230 8305
15995 8305
END
0 5 0 N 195 1 1 100 100 0 0 0 Y
TLAYNAM Stream1:0 INH
16270 8285
16270 8275
16505 8275
16505 8285
16270 8285
END
0 5 0 N 196 1 1 100 100 0 0 0 Y
TLAYNAM Stream1:0 INH
15985 8285
15985 8275
16220 8275
16220 8285
15985 8285
END
0 5 0 N 197 1 1 100 100 0 0 0 Y
TLAYNAM Stream1:0 INH
16260 8265
16260 8255
16495 8255
16495 8265
16260 8265
END
0 5 0 N 198 1 1 100 100 0 0 0 Y
TLAYNAM Stream1:0 INH
15995 8265
15995 8255
16230 8255
16230 8265
15995 8265
END
0 5 0 N 199 1 1 100 100 0 0 0 Y
TLAYNAM Stream1:0 INH
16270 8245
16270 8235
16505 8235
16505 8245
16270 8245
END
0 5 0 N 200 1 1 100 100 0 0 0 Y
TLAYNAM Stream1:0 INH
15985 8245
15985 8235
16220 8235
16220 8245
15985 8245
END
0 5 0 N 201 1 1 100 100 0 0 0 Y
TLAYNAM Stream1:0 INH
16260 8725
16260 8715
16495 8715
16495 8725
16260 8725
END
0 5 0 N 202 1 1 100 100 0 0 0 Y
TLAYNAM Stream1:0 INH
15100 9215
15100 9205
15335 9205
15335 9215
15100 9215
END
0 5 0 N 203 1 1 100 100 0 0 0 Y
TLAYNAM Stream1:0 INH
14815 9215
14815 9205
15050 9205
15050 9215
14815 9215
END
0 5 0 N 204 1 1 100 100 0 0 0 Y
TLAYNAM Stream1:0 INH
15090 9195
15090 9185
15325 9185
15325 9195
15090 9195
END
0 5 0 N 205 1 1 100 100 0 0 0 Y
TLAYNAM Stream1:0 INH
14825 9195
14825 9185
15060 9185
15060 9195
14825 9195
END
0 5 0 N 206 1 1 100 100 0 0 0 Y
TLAYNAM Stream1:0 INH
15100 9175
15100 9165
15335 9165
15335 9175
15100 9175
END
0 5 0 N 207 1 1 100 100 0 0 0 Y
TLAYNAM Stream1:0 INH
14815 9175
14815 9165
15050 9165
15050 9175
14815 9175
END
0 5 0 N 208 1 1 100 100 0 0 0 Y
TLAYNAM Stream1:0 INH
14815 9080
14815 9055
15335 9055
15335 9080
14815 9080
END
0 5 0 N 209 1 1 100 100 0 0 0 Y
TLAYNAM Stream1:0 INH
14997 9462
14997 9457
15147 9457
15147 9462
14997 9462
END
0 5 0 N 210 1 1 100 100 0 0 0 Y
TLAYNAM Stream1:0 INH
15142 9467
15142 9462
15147 9462
15147 9467
15142 9467
END
0 5 0 N 211 1 1 100 100 0 0 0 Y
TLAYNAM Stream1:0 INH
15072 9472
15072 9467
15147 9467
15147 9472
15072 9472
END
0 5 0 N 212 1 1 100 100 0 0 0 Y
TLAYNAM Stream1:0 INH
14997 9457
14997 9452
15002 9452
15002 9457
14997 9457
END
0 5 0 N 213 1 1 100 100 0 0 0 Y
TLAYNAM Stream1:0 INH
14997 9452
14997 9447
15073 9447
15073 9452
14997 9452
END
0 5 0 N 214 1 1 100 100 0 0 0 Y
TLAYNAM Stream1:0 INH
15072 9605
15072 9472
15077 9472
15077 9605
15072 9605
END
0 5 0 N 215 1 1 100 100 0 0 0 Y
TLAYNAM Stream1:0 INH
15073 9452
15073 9315
15078 9315
15078 9452
15073 9452
END
0 5 0 N 216 1 1 100 100 0 0 0 Y
TLAYNAM Stream1:0 INH
14785 9900
14785 9055
14815 9055
14815 9900
14785 9900
END
0 5 0 N 217 1 1 100 100 0 0 0 Y
TLAYNAM Stream1:0 INH
14815 9900
14815 9840
15335 9840
15335 9900
14815 9900
END
0 5 0 N 218 1 1 100 100 0 0 0 Y
TLAYNAM Stream1:0 INH
17155 9900
17155 9860
17675 9860
17675 9900
17155 9900
END
0 5 0 N 219 1 1 100 100 0 0 0 Y
TLAYNAM Stream1:0 INH
14825 9695
14825 9685
15060 9685
15060 9695
14825 9695
END
0 5 0 N 220 1 1 100 100 0 0 0 Y
TLAYNAM Stream1:0 INH
15335 9900
15335 9055
17155 9055
17155 9900
15335 9900
END
0 5 0 N 221 1 1 100 100 0 0 0 Y
TLAYNAM Stream1:0 INH
17165 9855
17165 9825
17665 9825
17665 9855
17165 9855
END
0 5 0 N 222 1 1 100 100 0 0 0 Y
TLAYNAM Stream1:0 INH
17400 9825
17400 9625
17430 9625
17430 9825
17400 9825
END
0 5 0 N 223 1 1 100 100 0 0 0 Y
TLAYNAM Stream1:0 INH
17155 9815
17155 9805
17390 9805
17390 9815
17155 9815
END
0 5 0 N 224 1 1 100 100 0 0 0 Y
TLAYNAM Stream1:0 INH
17165 9795
17165 9785
17400 9785
17400 9795
17165 9795
END
0 5 0 N 225 1 1 100 100 0 0 0 Y
TLAYNAM Stream1:0 INH
17440 9815
17440 9805
17675 9805
17675 9815
17440 9815
END
0 5 0 N 226 1 1 100 100 0 0 0 Y
TLAYNAM Stream1:0 INH
17430 9795
17430 9785
17665 9785
17665 9795
17430 9795
END
0 5 0 N 227 1 1 100 100 0 0 0 Y
TLAYNAM Stream1:0 INH
17165 9135
17165 9105
17665 9105
17665 9135
17165 9135
END
0 5 0 N 228 1 1 100 100 0 0 0 Y
TLAYNAM Stream1:0 INH
17400 9335
17400 9135
17430 9135
17430 9335
17400 9335
END
0 5 0 N 229 1 1 100 100 0 0 0 Y
TLAYNAM Stream1:0 INH
17155 9155
17155 9145
17390 9145
17390 9155
17155 9155
END
0 5 0 N 230 1 1 100 100 0 0 0 Y
TLAYNAM Stream1:0 INH
17165 9175
17165 9165
17400 9165
17400 9175
17165 9175
END
0 5 0 N 231 1 1 100 100 0 0 0 Y
TLAYNAM Stream1:0 INH
17430 9175
17430 9165
17665 9165
17665 9175
17430 9175
END
0 5 0 N 232 1 1 100 100 0 0 0 Y
TLAYNAM Stream1:0 INH
17440 9155
17440 9145
17675 9145
17675 9155
17440 9155
END
0 5 0 N 233 1 1 100 100 0 0 0 Y
TLAYNAM Stream1:0 INH
17440 9695
17440 9685
17675 9685
17675 9695
17440 9695
END
0 5 0 N 234 1 1 100 100 0 0 0 Y
TLAYNAM Stream1:0 INH
17155 9695
17155 9685
17390 9685
17390 9695
17155 9695
END
0 5 0 N 235 1 1 100 100 0 0 0 Y
TLAYNAM Stream1:0 INH
17430 9715
17430 9705
17665 9705
17665 9715
17430 9715
END
0 5 0 N 236 1 1 100 100 0 0 0 Y
TLAYNAM Stream1:0 INH
17165 9715
17165 9705
17400 9705
17400 9715
17165 9715
END
0 5 0 N 237 1 1 100 100 0 0 0 Y
TLAYNAM Stream1:0 INH
17440 9735
17440 9725
17675 9725
17675 9735
17440 9735
END
0 5 0 N 238 1 1 100 100 0 0 0 Y
TLAYNAM Stream1:0 INH
17155 9735
17155 9725
17390 9725
17390 9735
17155 9735
END
0 5 0 N 239 1 1 100 100 0 0 0 Y
TLAYNAM Stream1:0 INH
17430 9755
17430 9745
17665 9745
17665 9755
17430 9755
END
0 5 0 N 240 1 1 100 100 0 0 0 Y
TLAYNAM Stream1:0 INH
17165 9755
17165 9745
17400 9745
17400 9755
17165 9755
END
0 5 0 N 241 1 1 100 100 0 0 0 Y
TLAYNAM Stream1:0 INH
17440 9775
17440 9765
17675 9765
17675 9775
17440 9775
END
0 5 0 N 242 1 1 100 100 0 0 0 Y
TLAYNAM Stream1:0 INH
17155 9775
17155 9765
17390 9765
17390 9775
17155 9775
END
0 5 0 N 243 1 1 100 100 0 0 0 Y
TLAYNAM Stream1:0 INH
17440 9275
17440 9265
17675 9265
17675 9275
17440 9275
END
0 5 0 N 244 1 1 100 100 0 0 0 Y
TLAYNAM Stream1:0 INH
17155 9275
17155 9265
17390 9265
17390 9275
17155 9275
END
0 5 0 N 245 1 1 100 100 0 0 0 Y
TLAYNAM Stream1:0 INH
17430 9255
17430 9245
17665 9245
17665 9255
17430 9255
END
0 5 0 N 246 1 1 100 100 0 0 0 Y
TLAYNAM Stream1:0 INH
17165 9255
17165 9245
17400 9245
17400 9255
17165 9255
END
0 5 0 N 247 1 1 100 100 0 0 0 Y
TLAYNAM Stream1:0 INH
17440 9235
17440 9225
17675 9225
17675 9235
17440 9235
END
0 5 0 N 248 1 1 100 100 0 0 0 Y
TLAYNAM Stream1:0 INH
17155 9235
17155 9225
17390 9225
17390 9235
17155 9235
END
0 5 0 N 249 1 1 100 100 0 0 0 Y
TLAYNAM Stream1:0 INH
17430 9215
17430 9205
17665 9205
17665 9215
17430 9215
END
0 5 0 N 250 1 1 100 100 0 0 0 Y
TLAYNAM Stream1:0 INH
17165 9215
17165 9205
17400 9205
17400 9215
17165 9215
END
0 5 0 N 251 1 1 100 100 0 0 0 Y
TLAYNAM Stream1:0 INH
17440 9195
17440 9185
17675 9185
17675 9195
17440 9195
END
0 5 0 N 252 1 1 100 100 0 0 0 Y
TLAYNAM Stream1:0 INH
17155 9195
17155 9185
17390 9185
17390 9195
17155 9195
END
0 5 0 N 253 1 1 100 100 0 0 0 Y
TLAYNAM Stream1:0 INH
17155 9100
17155 9055
17675 9055
17675 9100
17155 9100
END
0 5 0 N 254 1 1 100 100 0 0 0 Y
TLAYNAM Stream1:0 INH
17337 9482
17337 9477
17487 9477
17487 9482
17337 9482
END
0 5 0 N 255 1 1 100 100 0 0 0 Y
TLAYNAM Stream1:0 INH
17482 9487
17482 9482
17487 9482
17487 9487
17482 9487
END
0 5 0 N 256 1 1 100 100 0 0 0 Y
TLAYNAM Stream1:0 INH
17412 9492
17412 9487
17487 9487
17487 9492
17412 9492
END
0 5 0 N 257 1 1 100 100 0 0 0 Y
TLAYNAM Stream1:0 INH
17337 9477
17337 9472
17342 9472
17342 9477
17337 9477
END
0 5 0 N 258 1 1 100 100 0 0 0 Y
TLAYNAM Stream1:0 INH
17337 9472
17337 9467
17413 9467
17413 9472
17337 9472
END
0 5 0 N 259 1 1 100 100 0 0 0 Y
TLAYNAM Stream1:0 INH
17412 9625
17412 9492
17417 9492
17417 9625
17412 9625
END
0 5 0 N 260 1 1 100 100 0 0 0 Y
TLAYNAM Stream1:0 INH
17413 9472
17413 9335
17418 9335
17418 9472
17413 9472
END
0 5 0 N 261 1 1 100 100 0 0 0 Y
TLAYNAM Stream1:0 INH
14825 9835
14825 9805
15325 9805
15325 9835
14825 9835
END
0 5 0 N 262 1 1 100 100 0 0 0 Y
TLAYNAM Stream1:0 INH
15060 9805
15060 9605
15090 9605
15090 9805
15060 9805
END
0 5 0 N 263 1 1 100 100 0 0 0 Y
TLAYNAM Stream1:0 INH
14815 9795
14815 9785
15050 9785
15050 9795
14815 9795
END
0 5 0 N 264 1 1 100 100 0 0 0 Y
TLAYNAM Stream1:0 INH
14825 9775
14825 9765
15060 9765
15060 9775
14825 9775
END
0 5 0 N 265 1 1 100 100 0 0 0 Y
TLAYNAM Stream1:0 INH
15100 9795
15100 9785
15335 9785
15335 9795
15100 9795
END
0 5 0 N 266 1 1 100 100 0 0 0 Y
TLAYNAM Stream1:0 INH
15090 9775
15090 9765
15325 9765
15325 9775
15090 9775
END
0 5 0 N 267 1 1 100 100 0 0 0 Y
TLAYNAM Stream1:0 INH
14825 9115
14825 9085
15325 9085
15325 9115
14825 9115
END
0 5 0 N 268 1 1 100 100 0 0 0 Y
TLAYNAM Stream1:0 INH
15060 9315
15060 9115
15090 9115
15090 9315
15060 9315
END
0 5 0 N 269 1 1 100 100 0 0 0 Y
TLAYNAM Stream1:0 INH
14815 9135
14815 9125
15050 9125
15050 9135
14815 9135
END
0 5 0 N 270 1 1 100 100 0 0 0 Y
TLAYNAM Stream1:0 INH
14825 9155
14825 9145
15060 9145
15060 9155
14825 9155
END
0 5 0 N 271 1 1 100 100 0 0 0 Y
TLAYNAM Stream1:0 INH
15090 9155
15090 9145
15325 9145
15325 9155
15090 9155
END
0 5 0 N 272 1 1 100 100 0 0 0 Y
TLAYNAM Stream1:0 INH
15100 9135
15100 9125
15335 9125
15335 9135
15100 9135
END
0 5 0 N 273 1 1 100 100 0 0 0 Y
TLAYNAM Stream1:0 INH
15100 9635
15100 9625
15335 9625
15335 9635
15100 9635
END
0 5 0 N 274 1 1 100 100 0 0 0 Y
TLAYNAM Stream1:0 INH
14815 9635
14815 9625
15050 9625
15050 9635
14815 9635
END
0 5 0 N 275 1 1 100 100 0 0 0 Y
TLAYNAM Stream1:0 INH
15090 9655
15090 9645
15325 9645
15325 9655
15090 9655
END
0 5 0 N 276 1 1 100 100 0 0 0 Y
TLAYNAM Stream1:0 INH
14825 9655
14825 9645
15060 9645
15060 9655
14825 9655
END
0 5 0 N 277 1 1 100 100 0 0 0 Y
TLAYNAM Stream1:0 INH
15100 9675
15100 9665
15335 9665
15335 9675
15100 9675
END
0 5 0 N 278 1 1 100 100 0 0 0 Y
TLAYNAM Stream1:0 INH
14815 9675
14815 9665
15050 9665
15050 9675
14815 9675
END
0 5 0 N 279 1 1 100 100 0 0 0 Y
TLAYNAM Stream1:0 INH
15090 9695
15090 9685
15325 9685
15325 9695
15090 9695
END
0 5 0 N 280 1 1 100 100 0 0 0 Y
TLAYNAM Stream1:0 INH
15100 9715
15100 9705
15335 9705
15335 9715
15100 9715
END
0 5 0 N 281 1 1 100 100 0 0 0 Y
TLAYNAM Stream1:0 INH
12000 9320
12000 9220
12400 9220
12400 9320
12000 9320
END
0 5 0 N 282 1 1 100 100 0 0 0 Y
TLAYNAM Stream1:0 INH
14815 9715
14815 9705
15050 9705
15050 9715
14815 9715
END
0 5 0 N 283 1 1 100 100 0 0 0 Y
TLAYNAM Stream1:0 INH
12000 9200
12000 9000
12400 9000
12400 9200
12000 9200
END
0 5 0 N 284 1 1 100 100 0 0 0 Y
TLAYNAM Stream1:0 INH
15090 9735
15090 9725
15325 9725
15325 9735
15090 9735
END
0 5 0 N 285 1 1 100 100 0 0 0 Y
TLAYNAM Stream1:0 INH
14825 9735
14825 9725
15060 9725
15060 9735
14825 9735
END
0 5 0 N 286 1 1 100 100 0 0 0 Y
TLAYNAM Stream1:0 INH
12800 9900
12800 9055
14785 9055
14785 9900
12800 9900
END
0 5 0 N 287 1 1 100 100 0 0 0 Y
TLAYNAM Stream1:0 INH
15100 9755
15100 9745
15335 9745
15335 9755
15100 9755
END
0 5 0 N 288 1 1 100 100 0 0 0 Y
TLAYNAM Stream1:0 INH
14815 9755
14815 9745
15050 9745
15050 9755
14815 9755
END
0 5 0 N 289 1 1 100 100 0 0 0 Y
TLAYNAM Stream1:0 INH
12000 9900
12000 9320
12800 9320
12800 9900
12000 9900
END
0 5 0 N 290 1 1 100 100 0 0 0 Y
TLAYNAM Stream1:0 INH
15100 9295
15100 9285
15335 9285
15335 9295
15100 9295
END
0 5 0 N 291 1 1 100 100 0 0 0 Y
TLAYNAM Stream1:0 INH
14815 9295
14815 9285
15050 9285
15050 9295
14815 9295
END
0 5 0 N 292 1 1 100 100 0 0 0 Y
TLAYNAM Stream1:0 INH
15090 9275
15090 9265
15325 9265
15325 9275
15090 9275
END
0 5 0 N 293 1 1 100 100 0 0 0 Y
TLAYNAM Stream1:0 INH
14825 9275
14825 9265
15060 9265
15060 9275
14825 9275
END
0 5 0 N 294 1 1 100 100 0 0 0 Y
TLAYNAM Stream1:0 INH
15100 9255
15100 9245
15335 9245
15335 9255
15100 9255
END
0 5 0 N 295 1 1 100 100 0 0 0 Y
TLAYNAM Stream1:0 INH
14815 9255
14815 9245
15050 9245
15050 9255
14815 9255
END
0 5 0 N 296 1 1 100 100 0 0 0 Y
TLAYNAM Stream1:0 INH
15090 9235
15090 9225
15325 9225
15325 9235
15090 9235
END
0 5 0 N 297 1 1 100 100 0 0 0 Y
TLAYNAM Stream1:0 INH
14825 9235
14825 9225
15060 9225
15060 9235
14825 9235
END
0 5 0 N 298 1 1 100 100 0 0 0 Y
TLAYNAM Stream1:0 INH
21845 9205
21845 9195
22080 9195
22080 9205
21845 9205
END
0 5 0 N 299 1 1 100 100 0 0 0 Y
TLAYNAM Stream1:0 INH
22110 9205
22110 9195
22345 9195
22345 9205
22110 9205
END
0 5 0 N 300 1 1 100 100 0 0 0 Y
TLAYNAM Stream1:0 INH
22120 9185
22120 9175
22355 9175
22355 9185
22120 9185
END
0 5 0 N 301 1 1 100 100 0 0 0 Y
TLAYNAM Stream1:0 INH
22110 9785
22110 9775
22345 9775
22345 9785
22110 9785
END
0 5 0 N 302 1 1 100 100 0 0 0 Y
TLAYNAM Stream1:0 INH
21845 9785
21845 9775
22080 9775
22080 9785
21845 9785
END
0 5 0 N 303 1 1 100 100 0 0 0 Y
TLAYNAM Stream1:0 INH
22120 9805
22120 9795
22355 9795
22355 9805
22120 9805
END
0 5 0 N 304 1 1 100 100 0 0 0 Y
TLAYNAM Stream1:0 INH
21835 9805
21835 9795
22070 9795
22070 9805
21835 9805
END
0 5 0 N 305 1 1 100 100 0 0 0 Y
TLAYNAM Stream1:0 INH
22110 9245
22110 9235
22345 9235
22345 9245
22110 9245
END
0 5 0 N 306 1 1 100 100 0 0 0 Y
TLAYNAM Stream1:0 INH
21845 9245
21845 9235
22080 9235
22080 9245
21845 9245
END
0 5 0 N 307 1 1 100 100 0 0 0 Y
TLAYNAM Stream1:0 INH
22120 9225
22120 9215
22355 9215
22355 9225
22120 9225
END
0 5 0 N 308 1 1 100 100 0 0 0 Y
TLAYNAM Stream1:0 INH
21835 9225
21835 9215
22070 9215
22070 9225
21835 9225
END
0 5 0 N 309 1 1 100 100 0 0 0 Y
TLAYNAM Stream1:0 INH
21835 9130
21835 9055
22355 9055
22355 9130
21835 9130
END
0 5 0 N 310 1 1 100 100 0 0 0 Y
TLAYNAM Stream1:0 INH
22017 9512
22017 9507
22167 9507
22167 9512
22017 9512
END
0 5 0 N 311 1 1 100 100 0 0 0 Y
TLAYNAM Stream1:0 INH
22162 9517
22162 9512
22167 9512
22167 9517
22162 9517
END
0 5 0 N 312 1 1 100 100 0 0 0 Y
TLAYNAM Stream1:0 INH
22092 9522
22092 9517
22167 9517
22167 9522
22092 9522
END
0 5 0 N 313 1 1 100 100 0 0 0 Y
TLAYNAM Stream1:0 INH
22017 9507
22017 9502
22022 9502
22022 9507
22017 9507
END
0 5 0 N 314 1 1 100 100 0 0 0 Y
TLAYNAM Stream1:0 INH
22017 9502
22017 9497
22093 9497
22093 9502
22017 9502
END
0 5 0 N 315 1 1 100 100 0 0 0 Y
TLAYNAM Stream1:0 INH
22092 9655
22092 9522
22097 9522
22097 9655
22092 9655
END
0 5 0 N 316 1 1 100 100 0 0 0 Y
TLAYNAM Stream1:0 INH
22093 9502
22093 9365
22098 9365
22098 9502
22093 9502
END
0 5 0 N 317 1 1 100 100 0 0 0 Y
TLAYNAM Stream1:0 INH
19505 9875
19505 9845
20005 9845
20005 9875
19505 9875
END
0 5 0 N 318 1 1 100 100 0 0 0 Y
TLAYNAM Stream1:0 INH
19740 9845
19740 9645
19770 9645
19770 9845
19740 9845
END
0 5 0 N 319 1 1 100 100 0 0 0 Y
TLAYNAM Stream1:0 INH
19495 9835
19495 9825
19730 9825
19730 9835
19495 9835
END
0 5 0 N 320 1 1 100 100 0 0 0 Y
TLAYNAM Stream1:0 INH
19505 9815
19505 9805
19740 9805
19740 9815
19505 9815
END
0 5 0 N 321 1 1 100 100 0 0 0 Y
TLAYNAM Stream1:0 INH
19780 9835
19780 9825
20015 9825
20015 9835
19780 9835
END
0 5 0 N 322 1 1 100 100 0 0 0 Y
TLAYNAM Stream1:0 INH
19770 9815
19770 9805
20005 9805
20005 9815
19770 9815
END
0 5 0 N 323 1 1 100 100 0 0 0 Y
TLAYNAM Stream1:0 INH
19505 9155
19505 9125
20005 9125
20005 9155
19505 9155
END
0 5 0 N 324 1 1 100 100 0 0 0 Y
TLAYNAM Stream1:0 INH
19740 9355
19740 9155
19770 9155
19770 9355
19740 9355
END
0 5 0 N 325 1 1 100 100 0 0 0 Y
TLAYNAM Stream1:0 INH
19495 9175
19495 9165
19730 9165
19730 9175
19495 9175
END
0 5 0 N 326 1 1 100 100 0 0 0 Y
TLAYNAM Stream1:0 INH
19505 9195
19505 9185
19740 9185
19740 9195
19505 9195
END
0 5 0 N 327 1 1 100 100 0 0 0 Y
TLAYNAM Stream1:0 INH
19770 9195
19770 9185
20005 9185
20005 9195
19770 9195
END
0 5 0 N 328 1 1 100 100 0 0 0 Y
TLAYNAM Stream1:0 INH
19780 9175
19780 9165
20015 9165
20015 9175
19780 9175
END
0 5 0 N 329 1 1 100 100 0 0 0 Y
TLAYNAM Stream1:0 INH
19780 9755
19780 9745
20015 9745
20015 9755
19780 9755
END
0 5 0 N 330 1 1 100 100 0 0 0 Y
TLAYNAM Stream1:0 INH
19495 9755
19495 9745
19730 9745
19730 9755
19495 9755
END
0 5 0 N 331 1 1 100 100 0 0 0 Y
TLAYNAM Stream1:0 INH
19770 9775
19770 9765
20005 9765
20005 9775
19770 9775
END
0 5 0 N 332 1 1 100 100 0 0 0 Y
TLAYNAM Stream1:0 INH
19505 9775
19505 9765
19740 9765
19740 9775
19505 9775
END
0 5 0 N 333 1 1 100 100 0 0 0 Y
TLAYNAM Stream1:0 INH
19780 9795
19780 9785
20015 9785
20015 9795
19780 9795
END
0 5 0 N 334 1 1 100 100 0 0 0 Y
TLAYNAM Stream1:0 INH
19495 9795
19495 9785
19730 9785
19730 9795
19495 9795
END
0 5 0 N 335 1 1 100 100 0 0 0 Y
TLAYNAM Stream1:0 INH
19780 9255
19780 9245
20015 9245
20015 9255
19780 9255
END
0 5 0 N 336 1 1 100 100 0 0 0 Y
TLAYNAM Stream1:0 INH
19495 9255
19495 9245
19730 9245
19730 9255
19495 9255
END
0 5 0 N 337 1 1 100 100 0 0 0 Y
TLAYNAM Stream1:0 INH
19770 9235
19770 9225
20005 9225
20005 9235
19770 9235
END
0 5 0 N 338 1 1 100 100 0 0 0 Y
TLAYNAM Stream1:0 INH
19505 9235
19505 9225
19740 9225
19740 9235
19505 9235
END
0 5 0 N 339 1 1 100 100 0 0 0 Y
TLAYNAM Stream1:0 INH
19780 9215
19780 9205
20015 9205
20015 9215
19780 9215
END
0 5 0 N 340 1 1 100 100 0 0 0 Y
TLAYNAM Stream1:0 INH
19495 9215
19495 9205
19730 9205
19730 9215
19495 9215
END
0 5 0 N 341 1 1 100 100 0 0 0 Y
TLAYNAM Stream1:0 INH
19495 9120
19495 9055
20015 9055
20015 9120
19495 9120
END
0 5 0 N 342 1 1 100 100 0 0 0 Y
TLAYNAM Stream1:0 INH
19677 9502
19677 9497
19827 9497
19827 9502
19677 9502
END
0 5 0 N 343 1 1 100 100 0 0 0 Y
TLAYNAM Stream1:0 INH
19822 9507
19822 9502
19827 9502
19827 9507
19822 9507
END
0 5 0 N 344 1 1 100 100 0 0 0 Y
TLAYNAM Stream1:0 INH
19752 9512
19752 9507
19827 9507
19827 9512
19752 9512
END
0 5 0 N 345 1 1 100 100 0 0 0 Y
TLAYNAM Stream1:0 INH
19677 9497
19677 9492
19682 9492
19682 9497
19677 9497
END
0 5 0 N 346 1 1 100 100 0 0 0 Y
TLAYNAM Stream1:0 INH
19677 9492
19677 9487
19753 9487
19753 9492
19677 9492
END
0 5 0 N 347 1 1 100 100 0 0 0 Y
TLAYNAM Stream1:0 INH
19752 9645
19752 9512
19757 9512
19757 9645
19752 9645
END
0 5 0 N 348 1 1 100 100 0 0 0 Y
TLAYNAM Stream1:0 INH
23600 9320
23600 9220
24000 9220
24000 9320
23600 9320
END
0 5 0 N 349 1 1 100 100 0 0 0 Y
TLAYNAM Stream1:0 INH
19753 9492
19753 9355
19758 9355
19758 9492
19753 9492
END
0 5 0 N 350 1 1 100 100 0 0 0 Y
TLAYNAM Stream1:0 INH
23600 9200
23600 9000
24000 9000
24000 9200
23600 9200
END
0 5 0 N 351 1 1 100 100 0 0 0 Y
TLAYNAM Stream1:0 INH
22355 9900
22355 9055
22385 9055
22385 9900
22355 9900
END
0 5 0 N 352 1 1 100 100 0 0 0 Y
TLAYNAM Stream1:0 INH
22385 9900
22385 9055
23200 9055
23200 9900
22385 9900
END
0 5 0 N 353 1 1 100 100 0 0 0 Y
TLAYNAM Stream1:0 INH
20015 9900
20015 9055
21835 9055
21835 9900
20015 9900
END
0 5 0 N 354 1 1 100 100 0 0 0 Y
TLAYNAM Stream1:0 INH
21835 9900
21835 9890
22355 9890
22355 9900
21835 9900
END
0 5 0 N 355 1 1 100 100 0 0 0 Y
TLAYNAM Stream1:0 INH
19495 9900
19495 9880
20015 9880
20015 9900
19495 9900
END
0 5 0 N 356 1 1 100 100 0 0 0 Y
TLAYNAM Stream1:0 INH
21845 9885
21845 9855
22345 9855
22345 9885
21845 9885
END
0 5 0 N 357 1 1 100 100 0 0 0 Y
TLAYNAM Stream1:0 INH
22080 9855
22080 9655
22110 9655
22110 9855
22080 9855
END
0 5 0 N 358 1 1 100 100 0 0 0 Y
TLAYNAM Stream1:0 INH
23200 9900
23200 9320
24000 9320
24000 9900
23200 9900
END
0 5 0 N 359 1 1 100 100 0 0 0 Y
TLAYNAM Stream1:0 INH
21835 9845
21835 9835
22070 9835
22070 9845
21835 9845
END
0 5 0 N 360 1 1 100 100 0 0 0 Y
TLAYNAM Stream1:0 INH
21845 9825
21845 9815
22080 9815
22080 9825
21845 9825
END
0 5 0 N 361 1 1 100 100 0 0 0 Y
TLAYNAM Stream1:0 INH
22120 9845
22120 9835
22355 9835
22355 9845
22120 9845
END
0 5 0 N 362 1 1 100 100 0 0 0 Y
TLAYNAM Stream1:0 INH
22110 9825
22110 9815
22345 9815
22345 9825
22110 9825
END
0 5 0 N 363 1 1 100 100 0 0 0 Y
TLAYNAM Stream1:0 INH
21845 9165
21845 9135
22345 9135
22345 9165
21845 9165
END
0 5 0 N 364 1 1 100 100 0 0 0 Y
TLAYNAM Stream1:0 INH
22080 9365
22080 9165
22110 9165
22110 9365
22080 9365
END
0 5 0 N 365 1 1 100 100 0 0 0 Y
TLAYNAM Stream1:0 INH
21835 9185
21835 9175
22070 9175
22070 9185
21835 9185
END
END GEO
```
